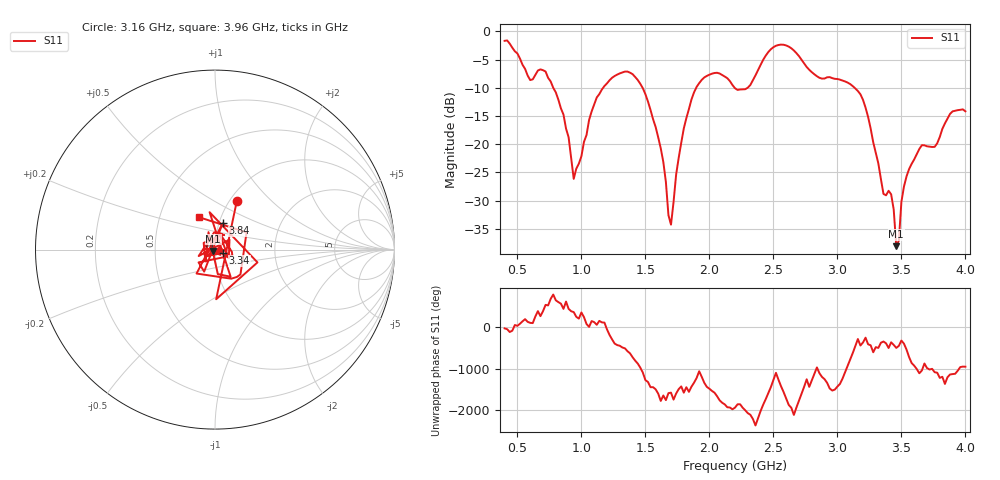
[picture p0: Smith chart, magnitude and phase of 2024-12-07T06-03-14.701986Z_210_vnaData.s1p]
!Created with skrf (http://scikit-rf.org).
# Hz S RI R 50.0
!freq ReS11 ImS11
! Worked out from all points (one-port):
!   181 points, 400 MHz to 4 GHz, reference 50 ohm
!   lowest |S11| = -38.1 dB at 3.46 GHz (marker M1), VSWR 1.03, Z = 49 - j0.691 ohm
!   |S11| at or under -10 dB: 779.7 MHz to 1.17 GHz (390.3 MHz wide, 40 % of centre); 1.478 GHz to 1.897 GHz (419 MHz wide, 24.8 % of centre); 3.134 GHz to end of sweep (the widest 3 of 4)
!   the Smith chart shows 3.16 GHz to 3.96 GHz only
!   S11 on the Smith chart (normalised r, x): 3.16 GHz: 1.08, +0.64; 3.34 GHz: 1.09, -0.04; 3.84 GHz: 1.04, +0.31; 3.96 GHz: 0.79, +0.30
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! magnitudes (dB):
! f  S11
! 400 MHz  -1.7
! 600 MHz  -8.6
! 720 MHz  -7.1
! 860 MHz  -14.8
! 940 MHz  -26.1
! 1.12 GHz  -11.7
! 1.3 GHz  -7.5
! 1.52 GHz  -12.4
! 1.64 GHz  -23.2
! 1.7 GHz  -34.2
! 1.76 GHz  -22.4
! 1.86 GHz  -12.1
! 1.94 GHz  -8.6
! 2.2 GHz  -10.1
! 2.5 GHz  -2.8
! 2.66 GHz  -3.4
! 3.1 GHz  -9.4
! 3.16 GHz  -10.6
! 3.24 GHz  -15.2
! 3.34 GHz  -26.2
! 3.42 GHz  -28.9
! 3.46 GHz  -38.1
! 3.48 GHz  -37.1
! 3.5 GHz  -30.2
! 3.56 GHz  -24.4
! 3.84 GHz  -16.3
! 3.96 GHz  -13.9
! 4 GHz  -14.2
